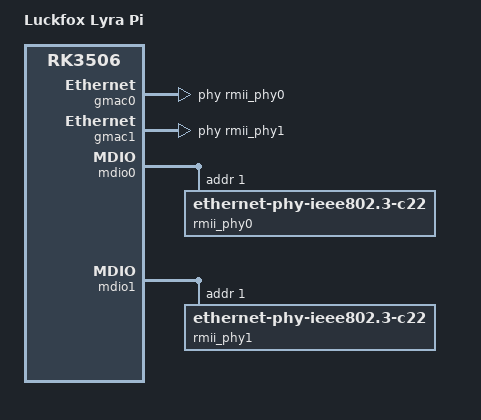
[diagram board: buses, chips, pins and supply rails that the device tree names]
// SPDX-License-Identifier: (GPL-2.0+ OR MIT)

/dts-v1/;
#include "rk3506b-luckfox-lyra.dtsi"

/ {
	model = "Luckfox Lyra Pi";
	compatible = "luckfox,lyra-pi", "luckfox,core3506", "rockchip,rk3506";

	aliases {
		ethernet0 = &gmac1;
		ethernet1 = &gmac0;
	};
};

&gmac0 {
	assigned-clocks = <&cru CLK_MAC0>;
	assigned-clock-rates = <50000000>;
	clock_in_out = "output";
	phy-handle = <&rmii_phy0>;
	pinctrl-names = "default";
	pinctrl-0 = <&eth_rmii0_miim>, <&eth_rmii0_tx_bus2>,
		    <&eth_rmii0_rx_bus2>, <&eth_rmii0_clk>;
	status = "okay";
};

&gmac1 {
	assigned-clocks = <&cru CLK_MAC1>;
	assigned-clock-rates = <50000000>;
	clock_in_out = "output";
	phy-handle = <&rmii_phy1>;
	pinctrl-names = "default";
	pinctrl-0 = <&eth_rmii1_miim>, <&eth_rmii1_tx_bus2>,
		    <&eth_rmii1_rx_bus2>, <&eth_rmii1_clk>;
	status = "okay";
};

&mdio0 {
	rmii_phy0: ethernet-phy@1 {
		compatible = "ethernet-phy-ieee802.3-c22";
		reg = <1>;
		assigned-clocks = <&cru CLK_MAC_OUT>;
		assigned-clock-rates = <50000000>;
		clocks = <&cru CLK_MAC_OUT>;
		pinctrl-names = "default";
		pinctrl-0 = <&eth_clk0_25m_out>;
	};
};

&mdio1 {
	rmii_phy1: ethernet-phy@1 {
		compatible = "ethernet-phy-ieee802.3-c22";
		reg = <1>;
		assigned-clocks = <&cru CLK_MAC_OUT>;
		assigned-clock-rates = <50000000>;
		clocks = <&cru CLK_MAC_OUT>;
		pinctrl-names = "default";
		pinctrl-0 = <&eth_clk1_25m_out>;
	};
};

&pinctrl {
	ethernet {
		/omit-if-no-ref/
		rmii0_rstn: rmii0-rstn {
			rockchip,pins = <1 RK_PC0 RK_FUNC_GPIO &pcfg_pull_none>;
		};

		/omit-if-no-ref/
		rmii1_rstn: rmii1-rstn {
			rockchip,pins = <1 RK_PC1 RK_FUNC_GPIO &pcfg_pull_none>;
		};
	};
};
